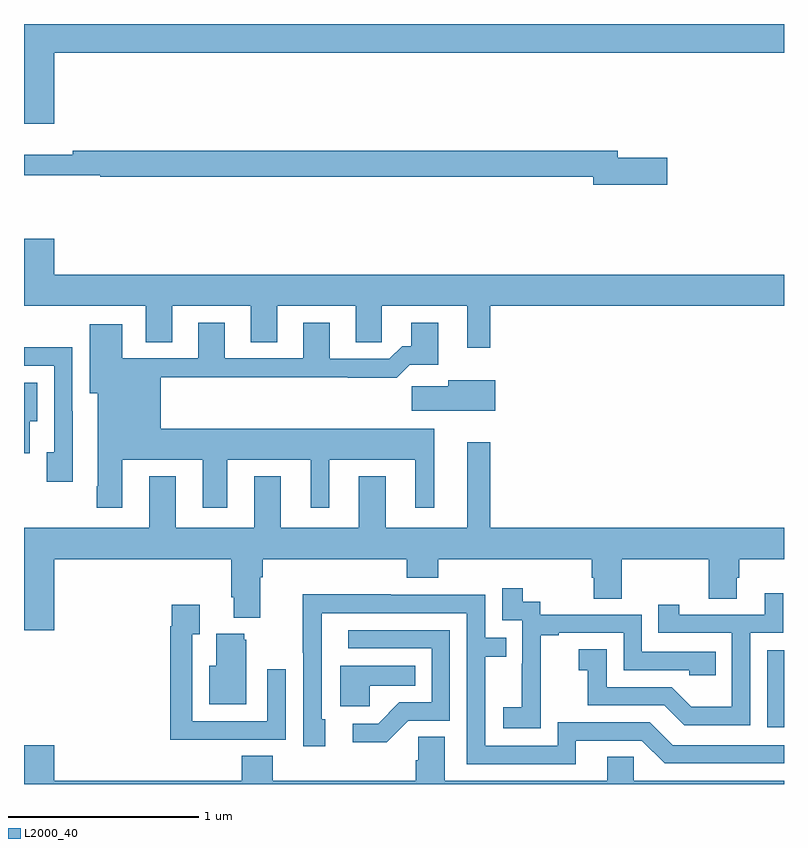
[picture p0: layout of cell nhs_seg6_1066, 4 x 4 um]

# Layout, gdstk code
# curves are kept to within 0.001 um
import gdstk
lib = gdstk.Library(unit=1e-6, precision=1e-09)
def R(c, l, rs):  # rectangles x0, y0, x1, y1
    for r in rs: c.add(gdstk.rectangle(r[:2], r[2:], *l))
def P(c, l, *ps):  # polygons
    for p in ps: c.add(gdstk.Polygon(p, *l))
L2000_40 = (2000, 40)

nhs_seg6_1066 = lib.new_cell('nhs_seg6_1066')
R(nhs_seg6_1066, L2000_40, [(180.912,931.8,181,932.205)])
P(nhs_seg6_1066, L2000_40, [(177.16,935.348),(181,935.348),(181,935.5),(177,935.5),(177,934.974),(177.16,934.974)],
  [(180.385,934.796),(180.124,934.796),(180.124,934.832),(177.256,934.832),(177.256,934.813),(177,934.813),(177,934.704),(177.4,934.704),(177.4,934.696),(179.996,934.696),(179.996,934.654),(180.385,934.654)],
  [(179.455,934.016),(181,934.016),(181,934.18),(177.16,934.18),(177.16,934.369),(177,934.369),(177,934.016),(177.641,934.016),(177.641,933.826),(177.781,933.826),(177.781,934.016),(178.193,934.016),(178.193,933.826),(178.333,933.826),(178.333,934.016),(178.745,934.016),(178.745,933.826),(178.884,933.826),(178.884,934.016),(179.333,934.016),(179.333,933.795),(179.455,933.795)],
  [(177.517,933.206),(177.941,933.206),(177.941,932.955),(178.069,932.955),(178.069,933.206),(178.508,933.206),(178.508,932.955),(178.606,932.955),(178.606,933.206),(179.06,933.206),(179.06,932.955),(179.158,932.955),(179.158,933.37),(177.721,933.37),(177.721,933.64),(178.705,933.64),(178.705,933.638),(178.961,933.638),(179.03,933.707),(179.179,933.707),(179.179,933.928),(179.039,933.928),(179.039,933.805),(178.99,933.805),(178.923,933.738),(178.609,933.738),(178.609,933.928),(178.469,933.928),(178.469,933.741),(178.057,933.741),(178.057,933.928),(177.917,933.928),(177.917,933.741),(177.517,933.741),(177.517,933.919),(177.347,933.919),(177.347,933.557),(177.389,933.557),(177.389,933.067),(177.382,933.067),(177.382,932.955),(177.517,932.955)],
  [(177.256,933.461),(177.255,933.461),(177.255,933.8),(177,933.8),(177,933.702),(177.159,933.702),(177.159,933.246),(177.119,933.246),(177.119,933.09),(177.256,933.09)],
  [(179.479,933.625),(179.234,933.625),(179.234,933.593),(179.04,933.593),(179.04,933.464),(179.479,933.464)],
  [(177.031,933.41),(177.07,933.41),(177.07,933.613),(177,933.613),(177,933.242),(177.031,933.242)],
  [(179.015,932.585),(179.18,932.585),(179.18,932.684),(179.987,932.684),(179.987,932.586),(179.999,932.586),(179.999,932.476),(180.147,932.476),(180.147,932.684),(180.604,932.684),(180.604,932.476),(180.751,932.476),(180.751,932.586),(180.764,932.586),(180.764,932.684),(181,932.684),(181,932.848),(179.455,932.848),(179.455,933.298),(179.333,933.298),(179.333,932.848),(178.903,932.848),(178.903,933.121),(178.763,933.121),(178.763,932.848),(178.351,932.848),(178.351,933.121),(178.211,933.121),(178.211,932.848),(177.799,932.848),(177.799,933.121),(177.659,933.121),(177.659,932.848),(177,932.848),(177,932.31),(177.16,932.31),(177.16,932.684),(178.091,932.684),(178.091,932.482),(178.103,932.482),(178.103,932.375),(178.243,932.375),(178.243,932.588),(178.256,932.588),(178.256,932.684),(179.015,932.684)],
  [(179.721,931.999),(179.72,931.999),(179.72,932.283),(179.815,932.283),(179.815,932.295),(180.156,932.295),(180.156,932.1),(180.501,932.1),(180.501,932.073),(180.641,932.073),(180.641,932.196),(180.252,932.196),(180.252,932.391),(179.718,932.391),(179.718,932.46),(179.626,932.46),(179.626,932.53),(179.517,932.53),(179.517,932.361),(179.622,932.361),(179.622,932.132),(179.621,932.132),(179.621,931.903),(179.523,931.903),(179.523,931.793),(179.721,931.793)],
  [(180.822,932.295),(180.996,932.295),(180.996,932.503),(180.899,932.503),(180.899,932.391),(180.448,932.391),(180.448,932.443),(180.337,932.443),(180.337,932.295),(180.726,932.295),(180.726,931.906),(180.512,931.906),(180.408,932.01),(180.066,932.01),(180.066,932.209),(179.919,932.209),(179.919,932.099),(179.968,932.099),(179.968,931.914),(180.371,931.914),(180.476,931.809),(180.822,931.809)],
  [(179.905,931.728),(180.252,931.728),(180.372,931.608),(181,931.608),(181,931.704),(180.414,931.704),(180.294,931.824),(179.808,931.824),(179.808,931.701),(179.427,931.701),(179.427,932.17),(179.537,932.17),(179.537,932.271),(179.427,932.271),(179.427,932.496),(178.931,932.496),(178.931,932.498),(178.468,932.498),(178.468,932.191),(178.47,932.191),(178.47,931.698),(178.585,931.698),(178.585,931.842),(178.566,931.842),(178.567,932.4),(179.331,932.4),(179.331,931.605),(179.905,931.605)],
  [(178.061,931.734),(178.377,931.734),(178.377,932.104),(178.281,932.104),(178.281,931.83),(177.885,931.83),(177.885,932.287),(177.925,932.287),(177.925,932.443),(177.777,932.443),(177.777,932.33),(177.769,932.33),(177.769,931.733),(178.061,931.733)],
  [(179.022,931.833),(179.241,931.833),(179.241,932.31),(178.707,932.31),(178.707,932.214),(179.145,932.214),(179.145,931.929),(178.976,931.929),(178.865,931.818),(178.731,931.818),(178.731,931.721),(178.909,931.721)],
  [(178.171,932.259),(178.16,932.259),(178.16,932.29),(178.013,932.29),(178.013,932.122),(177.974,932.122),(177.974,931.919),(178.171,931.919)],
  [(178.821,932.018),(179.06,932.018),(179.06,932.122),(178.664,932.122),(178.664,931.91),(178.821,931.91)],
  [(181,931.516),(180.21,931.516),(180.21,931.643),(180.071,931.643),(180.071,931.516),(179.215,931.516),(179.215,931.748),(179.076,931.748),(179.076,931.625),(179.063,931.625),(179.063,931.516),(178.31,931.516),(178.31,931.649),(178.145,931.649),(178.145,931.516),(177.16,931.516),(177.16,931.705),(177,931.705),(177,931.5),(181,931.5)])

lib.write_gds('nhs_seg6_1066.gds')
